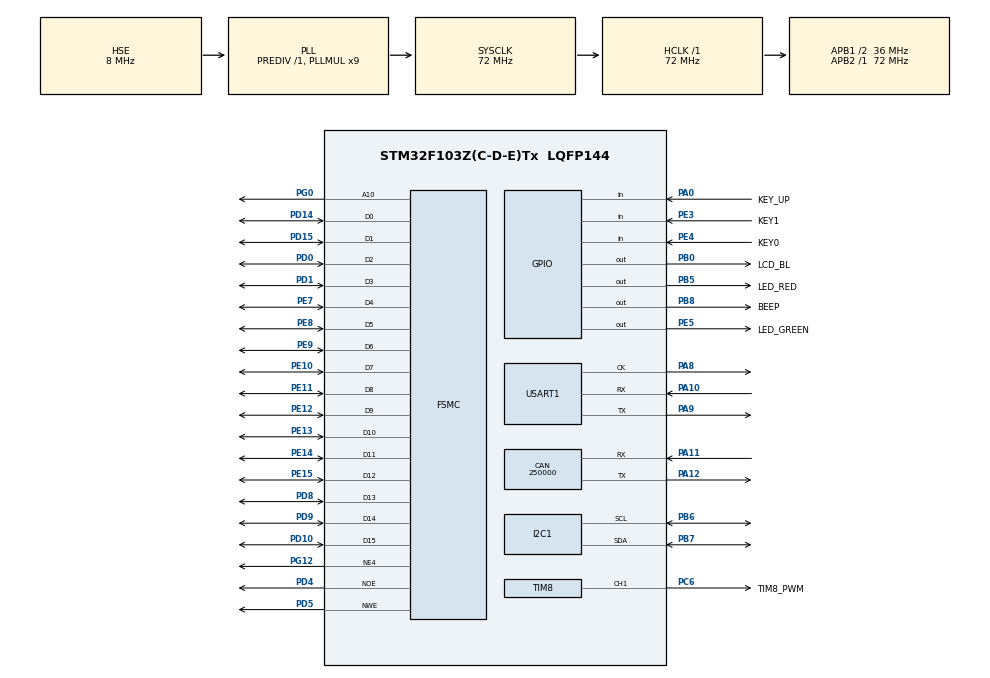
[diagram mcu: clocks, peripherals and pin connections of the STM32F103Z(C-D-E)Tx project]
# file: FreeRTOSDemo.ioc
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CAN.BS1=CAN_BS1_7TQ
CAN.CalculateBaudRate=250000
CAN.CalculateTimeBit=4000
CAN.CalculateTimeQuantum=444.44444444444446
Dma.Request0=USART1_RX
Dma.Request1=USART1_TX
Dma.USART1_RX.0.Direction=DMA_PERIPH_TO_MEMORY
Dma.USART1_RX.0.Instance=DMA1_Channel5
Dma.USART1_RX.0.MemDataAlignment=DMA_MDATAALIGN_BYTE
Dma.USART1_RX.0.MemInc=DMA_MINC_ENABLE
Dma.USART1_RX.0.Mode=DMA_NORMAL
Dma.USART1_RX.0.PeriphDataAlignment=DMA_PDATAALIGN_BYTE
Dma.USART1_RX.0.PeriphInc=DMA_PINC_DISABLE
Dma.USART1_RX.0.Priority=DMA_PRIORITY_LOW
Dma.USART1_TX.1.Direction=DMA_MEMORY_TO_PERIPH
Dma.USART1_TX.1.Instance=DMA1_Channel4
Dma.USART1_TX.1.MemDataAlignment=DMA_MDATAALIGN_BYTE
Dma.USART1_TX.1.MemInc=DMA_MINC_ENABLE
Dma.USART1_TX.1.Mode=DMA_NORMAL
Dma.USART1_TX.1.PeriphDataAlignment=DMA_PDATAALIGN_BYTE
Dma.USART1_TX.1.PeriphInc=DMA_PINC_DISABLE
Dma.USART1_TX.1.Priority=DMA_PRIORITY_LOW
FREERTOS.BinarySemaphores01=myBinarySem01,Dynamic,NULL
FREERTOS.CountingSemaphores01=myCountingSem01,2,Dynamic,NULL
FREERTOS.Events01=myEvent01,Dynamic,NULL
FREERTOS.Mutexes01=myMutex01,Dynamic,NULL
FREERTOS.Queues01=myQueue01,16,uint16_t,0,Dynamic,NULL,NULL
FREERTOS.RecursiveMutexes01=myRecursiveMutex01,Dynamic,NULL
FREERTOS.Tasks01=defaultTask,24,128,StartDefaultTask,Default,NULL,Dynamic,NULL,NULL;myTaskUsart,10,128,StartTaskUsart,Default,NULL,Dynamic,NULL,NULL;myTaskKey,40,128,StartTaskKey,Default,NULL,Dynamic,NULL,NULL
FREERTOS.Timers01=myTimer01,CallbackTimer01,osTimerPeriodic,Default,NULL,Dynamic,NULL
FSMC.AddressSetupTime4=2
FSMC.BusTurnAroundDuration4=0
FSMC.DataSetupTime4=16
FSMC.ExtendedAddressSetupTime4=4
FSMC.ExtendedBusTurnAroundDuration4=0
FSMC.ExtendedDataSetupTime4=9
FSMC.ExtendedMode4=FSMC_EXTENDED_MODE_ENABLE
Mcu.Family=STM32F1
Mcu.Name=STM32F103Z(C-D-E)Tx
Mcu.Package=LQFP144
NVIC.DMA1_Channel4_IRQn=true\:5\:0\:false\:false\:true\:true\:false\:true\:true
NVIC.DMA1_Channel5_IRQn=true\:5\:0\:false\:false\:true\:true\:false\:true\:true
NVIC.PriorityGroup=NVIC_PRIORITYGROUP_4
NVIC.TIM6_IRQn=true\:15\:0\:false\:false\:true\:false\:false\:true\:true
NVIC.TimeBase=TIM6_IRQn
NVIC.TimeBaseIP=TIM6
NVIC.USART1_IRQn=true\:5\:0\:false\:false\:true\:true\:true\:true\:true
OSC_IN.Mode=HSE-External-Oscillator
OSC_IN.Signal=RCC_OSC_IN
OSC_OUT.Mode=HSE-External-Oscillator
OSC_OUT.Signal=RCC_OSC_OUT
PA0-WKUP.GPIO_Label=KEY_UP
PA0-WKUP.GPIO_PuPd=GPIO_PULLDOWN
PA0-WKUP.Signal=GPIO_Input
PA10.Mode=Synchronous
PA10.Signal=USART1_RX
PA11.Mode=CAN_Activate
PA11.Signal=CAN_RX
PA12.Mode=CAN_Activate
PA12.Signal=CAN_TX
PA13.Mode=Serial_Wire
PA13.Signal=SYS_JTMS-SWDIO
PA14.Mode=Serial_Wire
PA14.Signal=SYS_JTCK-SWCLK
PA8.Mode=Synchronous
PA8.Signal=USART1_CK
PA9.Mode=Synchronous
PA9.Signal=USART1_TX
PB0.GPIO_Label=LCD_BL
PB0.GPIO_PuPd=GPIO_PULLDOWN
PB0.Signal=GPIO_Output
PB5.GPIO_Label=LED_RED
PB5.GPIO_PuPd=GPIO_NOPULL
PB5.GPIO_Speed=GPIO_SPEED_FREQ_MEDIUM
PB5.PinState=GPIO_PIN_SET
PB5.Signal=GPIO_Output
PB6.Mode=I2C
PB6.Signal=I2C1_SCL
PB7.Mode=I2C
PB7.Signal=I2C1_SDA
PB8.GPIO_Label=BEEP
PB8.Signal=GPIO_Output
PC6.GPIO_Label=TIM8_PWM
PC6.Signal=S_TIM8_CH1
PD0.Signal=FSMC_D2_DA2
PD1.Signal=FSMC_D3_DA3
PD10.Signal=FSMC_D15_DA15
PD14.Signal=FSMC_D0_DA0
PD15.Signal=FSMC_D1_DA1
PD4.Signal=FSMC_NOE
PD5.Signal=FSMC_NWE
PD8.Signal=FSMC_D13_DA13
PD9.Signal=FSMC_D14_DA14
PE10.Signal=FSMC_D7_DA7
PE11.Signal=FSMC_D8_DA8
PE12.Signal=FSMC_D9_DA9
PE13.Signal=FSMC_D10_DA10
PE14.Signal=FSMC_D11_DA11
PE15.Signal=FSMC_D12_DA12
PE3.GPIO_Label=KEY1
PE3.GPIO_PuPd=GPIO_PULLUP
PE3.Signal=GPIO_Input
PE4.GPIO_Label=KEY0
PE4.GPIO_PuPd=GPIO_PULLUP
PE4.Signal=GPIO_Input
PE5.GPIO_Label=LED_GREEN
PE5.GPIO_PuPd=GPIO_NOPULL
PE5.GPIO_Speed=GPIO_SPEED_FREQ_MEDIUM
PE5.PinState=GPIO_PIN_RESET
PE5.Signal=GPIO_Output
PE7.Signal=FSMC_D4_DA4
PE8.Signal=FSMC_D5_DA5
PE9.Signal=FSMC_D6_DA6
PG0.Signal=FSMC_A10
PG12.Mode=NorPsramChipSelect4_4
PG12.Signal=FSMC_NE4
ProjectManager.HeapSize=0x200
ProjectManager.StackSize=0x400
ProjectManager.TargetToolchain=MDK-ARM V5.32
RCC.AHBFreq_Value=72000000
RCC.APB1CLKDivider=RCC_HCLK_DIV2
RCC.APB1Freq_Value=36000000
RCC.APB1TimFreq_Value=72000000
RCC.APB2Freq_Value=72000000
RCC.APB2TimFreq_Value=72000000
RCC.HCLKFreq_Value=72000000
RCC.PLLMUL=RCC_PLL_MUL9
RCC.PLLSourceVirtual=RCC_PLLSOURCE_HSE
RCC.SYSCLKFreq_VALUE=72000000
RCC.SYSCLKSource=RCC_SYSCLKSOURCE_PLLCLK
RCC.USBFreq_Value=72000000
SH.FSMC_A10.0=FSMC_A10,A10_4
SH.FSMC_D0_DA0.0=FSMC_D0,16b-d4
SH.FSMC_D10_DA10.0=FSMC_D10,16b-d4
SH.FSMC_D11_DA11.0=FSMC_D11,16b-d4
SH.FSMC_D12_DA12.0=FSMC_D12,16b-d4
SH.FSMC_D13_DA13.0=FSMC_D13,16b-d4
SH.FSMC_D14_DA14.0=FSMC_D14,16b-d4
SH.FSMC_D15_DA15.0=FSMC_D15,16b-d4
SH.FSMC_D1_DA1.0=FSMC_D1,16b-d4
SH.FSMC_D2_DA2.0=FSMC_D2,16b-d4
SH.FSMC_D3_DA3.0=FSMC_D3,16b-d4
SH.FSMC_D4_DA4.0=FSMC_D4,16b-d4
SH.FSMC_D5_DA5.0=FSMC_D5,16b-d4
SH.FSMC_D6_DA6.0=FSMC_D6,16b-d4
SH.FSMC_D7_DA7.0=FSMC_D7,16b-d4
SH.FSMC_D8_DA8.0=FSMC_D8,16b-d4
SH.FSMC_D9_DA9.0=FSMC_D9,16b-d4
SH.FSMC_NOE.0=FSMC_NOE,Lcd4
SH.FSMC_NWE.0=FSMC_NWE,Lcd4
SH.S_TIM8_CH1.0=TIM8_CH1,PWM Generation1 CH1
TIM2.Period=100-1
TIM2.Prescaler=72-1
TIM8.Channel-PWM\ Generation1\ CH1=TIM_CHANNEL_1
TIM8.Period=100-1
TIM8.Prescaler=36-1
USART1.VirtualMode=VM_SYNC
VP_FREERTOS_VS_CMSIS_V2.Mode=CMSIS_V2
VP_SYS_VS_tim6.Mode=TIM6
VP_TIM2_VS_ClockSourceINT.Mode=Internal
VP_TIM8_VS_ClockSourceINT.Mode=Internal
board=custom

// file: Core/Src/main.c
/* USER CODE BEGIN Header */
/**
  ******************************************************************************
  * @file           : main.c
  * @brief          : Main program body
  ******************************************************************************
  * @attention
  *
  * Copyright (c) 2025 STMicroelectronics.
  * All rights reserved.
  *
  * This software is licensed under terms that can be found in the LICENSE file
  * in the root directory of this software component.
  * If no LICENSE file comes with this software, it is provided AS-IS.
  *
  ******************************************************************************
  */
/* USER CODE END Header */
#include "main.h"
#include "cmsis_os.h"
#include "can.h"
#include "dma.h"
#include "i2c.h"
#include "tim.h"
#include "usart.h"
#include "gpio.h"
#include "fsmc.h"

/* USER CODE BEGIN Includes */
#include "./BSP/LCD/lcd.h"
#include "./BSP/TOUCH/touch.h"
#include "./SYSTEM/delay/delay.h"
/* USER CODE END Includes */

void SystemClock_Config(void);
void MX_FREERTOS_Init(void);

int main(void)
{

  /* MCU Configuration--------------------------------------------------------*/

  /* Reset of all peripherals, Initializes the Flash interface and the Systick. */
  HAL_Init();

  /* Configure the system clock */
  SystemClock_Config();

  /* USER CODE BEGIN SysInit */
	DWT_Init();
  /* USER CODE END SysInit */

  /* Initialize all configured peripherals */
  MX_GPIO_Init();
  MX_DMA_Init();
  MX_TIM2_Init();
  MX_USART1_Init();
  MX_CAN_Init();
  MX_I2C1_Init();
  MX_FSMC_Init();
  MX_TIM8_Init();
  /* USER CODE BEGIN 2 */

	lcd_init();
	lcd_display_on();
	lcd_clear(RED);
  HAL_GPIO_WritePin(LCD_BL_GPIO_Port, LCD_BL_Pin, GPIO_PIN_SET);

	HAL_TIM_PWM_Start(&htim8, TIM_CHANNEL_1);

	/* 初始化触摸屏 */
	if (tp_init() == 0) {
		printf("Touch screen calibrated!\r\n");
	} else {
		printf("Touch screen needs calibration!\r\n");
	}
  /* USER CODE END 2 */

  /* Init scheduler */
  osKernelInitialize();

  /* Call init function for freertos objects (in cmsis_os2.c) */
  MX_FREERTOS_Init();

  /* Start scheduler */
  osKernelStart();

  /* We should never get here as control is now taken by the scheduler */

  /* Infinite loop */
  while (1)
  {

  }
}

void SystemClock_Config(void)
{
  RCC_OscInitTypeDef RCC_OscInitStruct = {0};
  RCC_ClkInitTypeDef RCC_ClkInitStruct = {0};

  /** Initializes the RCC Oscillators according to the specified parameters
  * in the RCC_OscInitTypeDef structure.
  */
  RCC_OscInitStruct.OscillatorType = RCC_OSCILLATORTYPE_HSE;
  RCC_OscInitStruct.HSEState = RCC_HSE_ON;
  RCC_OscInitStruct.HSEPredivValue = RCC_HSE_PREDIV_DIV1;
  RCC_OscInitStruct.HSIState = RCC_HSI_ON;
  RCC_OscInitStruct.PLL.PLLState = RCC_PLL_ON;
  RCC_OscInitStruct.PLL.PLLSource = RCC_PLLSOURCE_HSE;
  RCC_OscInitStruct.PLL.PLLMUL = RCC_PLL_MUL9;
  if (HAL_RCC_OscConfig(&RCC_OscInitStruct) != HAL_OK)
  {
    Error_Handler();
  }

  /** Initializes the CPU, AHB and APB buses clocks
  */
  RCC_ClkInitStruct.ClockType = RCC_CLOCKTYPE_HCLK|RCC_CLOCKTYPE_SYSCLK
                              |RCC_CLOCKTYPE_PCLK1|RCC_CLOCKTYPE_PCLK2;
  RCC_ClkInitStruct.SYSCLKSource = RCC_SYSCLKSOURCE_PLLCLK;
  RCC_ClkInitStruct.AHBCLKDivider = RCC_SYSCLK_DIV1;
  RCC_ClkInitStruct.APB1CLKDivider = RCC_HCLK_DIV2;
  RCC_ClkInitStruct.APB2CLKDivider = RCC_HCLK_DIV1;

  if (HAL_RCC_ClockConfig(&RCC_ClkInitStruct, FLASH_LATENCY_2) != HAL_OK)
  {
    Error_Handler();
  }
}

void HAL_TIM_PeriodElapsedCallback(TIM_HandleTypeDef *htim)
{
  if (htim->Instance == TIM6) {
    HAL_IncTick();
  }
}

void Error_Handler(void)
{
  __disable_irq();
  while (1)
  {
  }
}

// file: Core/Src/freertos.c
/* USER CODE BEGIN Header */
/**
  ******************************************************************************
  * File Name          : freertos.c
  * Description        : Code for freertos applications
  ******************************************************************************
  * @attention
  *
  * Copyright (c) 2025 STMicroelectronics.
  * All rights reserved.
  *
  * This software is licensed under terms that can be found in the LICENSE file
  * in the root directory of this software component.
  * If no LICENSE file comes with this software, it is provided AS-IS.
  *
  ******************************************************************************
  */
/* USER CODE END Header */

#include "FreeRTOS.h"
#include "task.h"
#include "main.h"
#include "cmsis_os.h"

/* USER CODE BEGIN Includes */
#include "usart.h"
#include "./BSP/LCD/lcd.h"
#include "./BSP/LCD/chinese_font.h"
#include "./BSP/KEY/key.h"
#include "./BSP/TOUCH/touch.h"
#include "./User/TFTLCDTouch/lcd_touch.h"
#include "tim.h"

/* USER CODE END Includes */

/* USER CODE BEGIN Variables */
uint8_t UART_BUF[8] = {0};
extern const uint8_t dog_image[];

/* PWM  */
uint16_t Fan_PWM_Value = 0;  /* 初始值 */

/* USER CODE END Variables */
/* Definitions for defaultTask */
osThreadId_t defaultTaskHandle;
const osThreadAttr_t defaultTask_attributes = {
  .name = "defaultTask",
  .stack_size = 128 * 4,
  .priority = (osPriority_t) osPriorityNormal,
};
/* Definitions for myTaskUsart */
osThreadId_t myTaskUsartHandle;
const osThreadAttr_t myTaskUsart_attributes = {
  .name = "myTaskUsart",
  .stack_size = 128 * 4,
  .priority = (osPriority_t) osPriorityLow2,
};
/* Definitions for myTaskKey */
osThreadId_t myTaskKeyHandle;
const osThreadAttr_t myTaskKey_attributes = {
  .name = "myTaskKey",
  .stack_size = 128 * 4,
  .priority = (osPriority_t) osPriorityHigh,
};
/* Definitions for myQueue01 */
osMessageQueueId_t myQueue01Handle;
const osMessageQueueAttr_t myQueue01_attributes = {
  .name = "myQueue01"
};
/* Definitions for myTimer01 */
osTimerId_t myTimer01Handle;
const osTimerAttr_t myTimer01_attributes = {
  .name = "myTimer01"
};
/* Definitions for myMutex01 */
osMutexId_t myMutex01Handle;
const osMutexAttr_t myMutex01_attributes = {
  .name = "myMutex01"
};
/* Definitions for myRecursiveMutex01 */
osMutexId_t myRecursiveMutex01Handle;
const osMutexAttr_t myRecursiveMutex01_attributes = {
  .name = "myRecursiveMutex01",
  .attr_bits = osMutexRecursive,
};
/* Definitions for myBinarySem01 */
osSemaphoreId_t myBinarySem01Handle;
const osSemaphoreAttr_t myBinarySem01_attributes = {
  .name = "myBinarySem01"
};
/* Definitions for myCountingSem01 */
osSemaphoreId_t myCountingSem01Handle;
const osSemaphoreAttr_t myCountingSem01_attributes = {
  .name = "myCountingSem01"
};
/* Definitions for myEvent01 */
osEventFlagsId_t myEvent01Handle;
const osEventFlagsAttr_t myEvent01_attributes = {
  .name = "myEvent01"
};

void StartDefaultTask(void *argument);
void StartTaskUsart(void *argument);
void StartTaskKey(void *argument);
void CallbackTimer01(void *argument);

void MX_FREERTOS_Init(void); /* (MISRA C 2004 rule 8.1) */

void MX_FREERTOS_Init(void) {
  /* Create the mutex(es) */
  /* creation of myMutex01 */
  myMutex01Handle = osMutexNew(&myMutex01_attributes);

  /* Create the recursive mutex(es) */
  /* creation of myRecursiveMutex01 */
  myRecursiveMutex01Handle = osMutexNew(&myRecursiveMutex01_attributes);

  /* Create the semaphores(s) */
  /* creation of myBinarySem01 */
  myBinarySem01Handle = osSemaphoreNew(1, 0, &myBinarySem01_attributes);

  /* creation of myCountingSem01 */
  myCountingSem01Handle = osSemaphoreNew(2, 2, &myCountingSem01_attributes);

  /* Create the timer(s) */
  /* creation of myTimer01 */
  myTimer01Handle = osTimerNew(CallbackTimer01, osTimerPeriodic, NULL, &myTimer01_attributes);

  /* Create the queue(s) */
  /* creation of myQueue01 */
  myQueue01Handle = osMessageQueueNew (16, sizeof(uint16_t), &myQueue01_attributes);

  /* Create the thread(s) */
  /* creation of defaultTask */
  defaultTaskHandle = osThreadNew(StartDefaultTask, NULL, &defaultTask_attributes);

  /* creation of myTaskUsart */
  myTaskUsartHandle = osThreadNew(StartTaskUsart, NULL, &myTaskUsart_attributes);

  /* creation of myTaskKey */
  myTaskKeyHandle = osThreadNew(StartTaskKey, NULL, &myTaskKey_attributes);

  /* creation of myEvent01 */
  myEvent01Handle = osEventFlagsNew(&myEvent01_attributes);

}

void StartDefaultTask(void *argument)
{
  /* USER CODE BEGIN StartDefaultTask */
  /* Infinite loop */
  for(;;)
  {

//		HAL_UART_Transmit_DMA(&husart1, 0x01, 1);
		printf("DefaultTask\n");
		LED_RED_ON;
		osDelay(1000);
		LED_RED_OFF;
		osDelay(1000);
    osDelay(1);
  }
  /* USER CODE END StartDefaultTask */
}

void StartTaskUsart(void *argument)
{
  /* USER CODE BEGIN StartTaskUsart */
	// 清屏
	lcd_clear(WHITE);
	//	//测试：图片展示
//	lcd_show_image(80, 250, 321, 314, (uint8_t*)dog_image);

// 测试：四个角的四个色块
	lcd_fill(0, 0, 100, 100, RED);
	lcd_fill(380, 0, 480, 100, GREEN);
	lcd_fill(0, 700, 100, 800, BLUE);
	lcd_fill(380, 700, 480, 800, YELLOW);

	/* 标题 */
//	lcd_show_string(180, 50, 200, 30, 24, "PWM Control", BLUE);
	lcd_show_chinese_string(180, 50, 24, "风机PWM控制", BLUE, g_back_color);

	/* PWM 标签 */
	lcd_show_string(150, 200, 200, 30, 24, "PWM Value:", BLACK);

	/* 绘制按钮 1 - 快 */
	lcd_draw_rectangle(BTN1_X, BTN1_Y, BTN1_X + BTN1_W, BTN1_Y + BTN1_H, GREEN);
	lcd_fill(BTN1_X + 2, BTN1_Y + 2, BTN1_X + BTN1_W - 2, BTN1_Y + BTN1_H - 2, GREEN);
	g_back_color = GREEN;
	lcd_show_chinese_string(BTN1_X + 60, BTN1_Y + 30, 24, "快", BLACK, g_back_color);  // "快"

	/* 绘制按钮 2 - 慢 */
	lcd_draw_rectangle(BTN2_X, BTN2_Y, BTN2_X + BTN2_W, BTN2_Y + BTN2_H, BLUE);
	lcd_fill(BTN2_X + 2, BTN2_Y + 2, BTN2_X + BTN2_W - 2, BTN2_Y + BTN2_H - 2, BLUE);
	g_back_color = BLUE;
	lcd_show_chinese_string(BTN2_X + 60, BTN2_Y + 30, 24, "慢", WHITE, g_back_color);  // "慢"

	/* 绘制按钮 3 - 停 */
	lcd_draw_rectangle(BTN3_X, BTN3_Y, BTN3_X + BTN3_W, BTN3_Y + BTN3_H, RED);
	lcd_fill(BTN3_X + 2, BTN3_Y + 2, BTN3_X + BTN3_W - 2, BTN3_Y + BTN3_H - 2, RED);
	g_back_color = RED;
	lcd_show_chinese_string(BTN3_X + 100, BTN3_Y + 30, 24, "停", WHITE, g_back_color);  // "停"

	/* 恢复背景色 */
	g_back_color = WHITE;

	/* 显示初始 PWM 值 */
	lcd_show_num(280, 200, Fan_PWM_Value, 3, 24, RED);
  /* Infinite loop */
  for(;;)
  {
//		osDelay(50);
		/* 触屏按钮检测 */
		uint8_t touch_btn = Check_Touch_Button();

		if (touch_btn != 0) {
			/* 有触屏按钮按下 */
			switch (touch_btn) {
				case 1:  /* 快按钮 */
					if (Fan_PWM_Value < 100) {
						Fan_PWM_Value += 1;
					}
					break;
				case 2:  /* 慢按钮 */
					if (Fan_PWM_Value > 0) {
						Fan_PWM_Value -= 1;
					}
					break;
				case 3:  /* 停按钮 */
					Fan_PWM_Value = 0;
					break;
			}
			/* 更新 PWM 显示 */
		// 1 先用白色矩形擦除旧数字
		lcd_fill(280, 200, 350, 230, WHITE);
		// 2 再显示新数字
		lcd_show_num(280, 200, Fan_PWM_Value, 3, 24, RED);
		__HAL_TIM_SET_COMPARE(&htim8, TIM_CHANNEL_1, Fan_PWM_Value);
		}

  }
  /* USER CODE END StartTaskUsart */
}

void StartTaskKey(void *argument)
{
  /* USER CODE BEGIN StartTaskKey */
  /* Infinite loop */
  for(;;)
  {
		osDelay(200);  /* 200ms 扫描周期 */

    /* 扫描按键，支持连按 */
    uint8_t key_val = key_scan(1);

    /* 如果有按键按下，直接处理 */
    if (key_val != 0) {
      switch (key_val) {
        case 1:  /* KEY1 - 增加 */
          if (Fan_PWM_Value < 100) {
            Fan_PWM_Value += 1;
          }
          break;
        case 2:  /* KEY0 - 减少 */
          if (Fan_PWM_Value > 0) {
            Fan_PWM_Value -= 1;
          }
          break;
        case 3:  /* KEY_UP - 停止 */
          Fan_PWM_Value = 0;
          break;
      }
			__HAL_TIM_SET_COMPARE(&htim8, TIM_CHANNEL_1, Fan_PWM_Value);
			/* 更新显示 */
			lcd_fill(280, 200, 350, 230, WHITE);
			lcd_show_num(280, 200, Fan_PWM_Value, 3, 24, RED);
    }
  }
  /* USER CODE END StartTaskKey */
}

/* CallbackTimer01 function */
void CallbackTimer01(void *argument)
{
}
